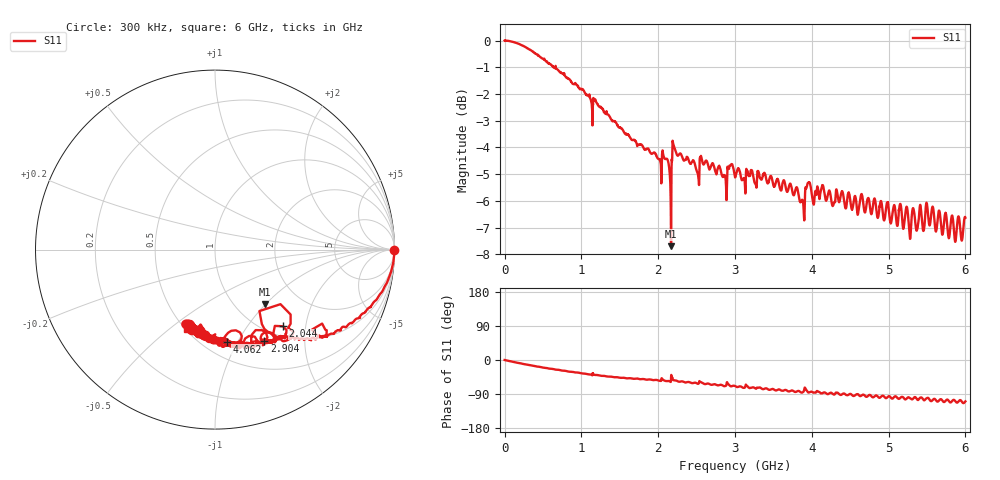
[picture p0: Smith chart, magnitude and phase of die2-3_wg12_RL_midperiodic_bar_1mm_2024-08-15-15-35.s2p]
!Keysight Technologies,P9374A,MY57304198,A.17.20.09
!Date: Thursday, August 15, 2024 15:35:25
!Correction: S11(C  1-Port  )
!S21(C  1-Port  )
!S12(Off)
!S22(Off)
!S2P File: Measurements: S11, S21, S12, S22:
# Hz S  dB  R 50
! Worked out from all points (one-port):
!   6000 points, 300 kHz to 6 GHz, reference 50 ohm
!   lowest |S11| = -7.7 dB at 2.168 GHz (marker M1), VSWR 2.40, Z = 67.9 - j49.6 ohm
!   |S11| at or under -10 dB: nowhere
!   S11 on the Smith chart (normalised r, x): 300 kHz: open; 2.044 GHz: 1.19, -1.50; 2.904 GHz: 0.84, -1.30; 4.062 GHz: 0.64, -0.90; 6 GHz: 0.51, -0.58
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300000  -0.00 -0.0  -200.00 45.0  -200.00 45.0  -200.00 45.0
4.963579e8  -0.68 -19.9  -200.00 45.0  -200.00 45.0  -200.00 45.0
1.000417e9  -1.81 -35.2  -200.00 45.0  -200.00 45.0  -200.00 45.0
1.502475e9  -3.27 -46.9  -200.00 45.0  -200.00 45.0  -200.00 45.0
2.000533e9  -4.43 -53.9  -200.00 45.0  -200.00 45.0  -200.00 45.0
2.043538e9  -4.88 -48.5  -200.00 45.0  -200.00 45.0  -200.00 45.0
2.138549e9  -4.66 -55.5  -200.00 45.0  -200.00 45.0  -200.00 45.0
2.167553e9  -7.70 -47.4  -200.00 45.0  -200.00 45.0  -200.00 45.0
2.200557e9  -3.92 -53.3  -200.00 45.0  -200.00 45.0  -200.00 45.0
2.277566e9  -4.24 -57.4  -200.00 45.0  -200.00 45.0  -200.00 45.0
2.502592e9  -4.89 -61.6  -200.00 45.0  -200.00 45.0  -200.00 45.0
2.563599e9  -4.39 -59.2  -200.00 45.0  -200.00 45.0  -200.00 45.0
2.858633e9  -5.05 -69.2  -200.00 45.0  -200.00 45.0  -200.00 45.0
2.903639e9  -4.74 -61.7  -200.00 45.0  -200.00 45.0  -200.00 45.0
3.00065e9  -5.12 -68.7  -200.00 45.0  -200.00 45.0  -200.00 45.0
3.377694e9  -4.96 -76.5  -200.00 45.0  -200.00 45.0  -200.00 45.0
3.864751e9  -6.00 -86.0  -200.00 45.0  -200.00 45.0  -200.00 45.0
3.920757e9  -5.50 -77.0  -200.00 45.0  -200.00 45.0  -200.00 45.0
4.000767e9  -5.77 -83.7  -200.00 45.0  -200.00 45.0  -200.00 45.0
4.061774e9  -5.74 -82.9  -200.00 45.0  -200.00 45.0  -200.00 45.0
5.000883e9  -6.29 -95.6  -200.00 45.0  -200.00 45.0  -200.00 45.0
6e9  -6.63 -109.2  -200.00 45.0  -200.00 45.0  -200.00 45.0
